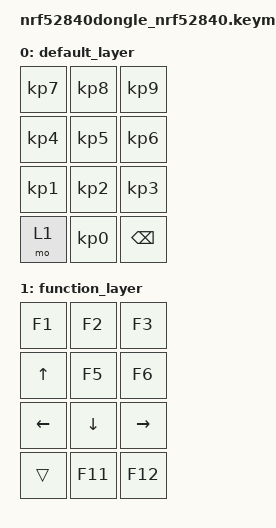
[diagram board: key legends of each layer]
#include <behaviors.dtsi>
#include <dt-bindings/zmk/keys.h>

/ {
    chosen {
        zmk,kscan = &kscan0;
    };

    kscan0: kscan {
        compatible = "zmk,kscan-gpio-matrix";
        diode-direction = "col2row";

        row-gpios
            = <&gpio0 13 (GPIO_ACTIVE_HIGH | GPIO_PULL_DOWN)>
            , <&gpio0 15 (GPIO_ACTIVE_HIGH | GPIO_PULL_DOWN)>
            , <&gpio0 17 (GPIO_ACTIVE_HIGH | GPIO_PULL_DOWN)>
            , <&gpio0 20 (GPIO_ACTIVE_HIGH | GPIO_PULL_DOWN)>
            ;

        col-gpios
            = <&gpio0 22 GPIO_ACTIVE_HIGH>
            , <&gpio0 24 GPIO_ACTIVE_HIGH>
            , <&gpio1 0  GPIO_ACTIVE_HIGH>
            ;
    };

    keymap {
        compatible = "zmk,keymap";

        default_layer {
            bindings = <
                &kp KP_N7    &kp KP_N8    &kp KP_N9
                &kp KP_N4    &kp KP_N5    &kp KP_N6
                &kp KP_N1    &kp KP_N2    &kp KP_N3
                &mo 1        &kp KP_N0    &kp BSPC
            >;
        };

        function_layer {
            bindings = <
                &kp F1       &kp F2       &kp F3 
                &kp UP       &kp F5       &kp F6 
                &kp LEFT     &kp DOWN     &kp RIGHT     
                &trans       &kp F11      &kp F12 
            >;
        };
    };
};
